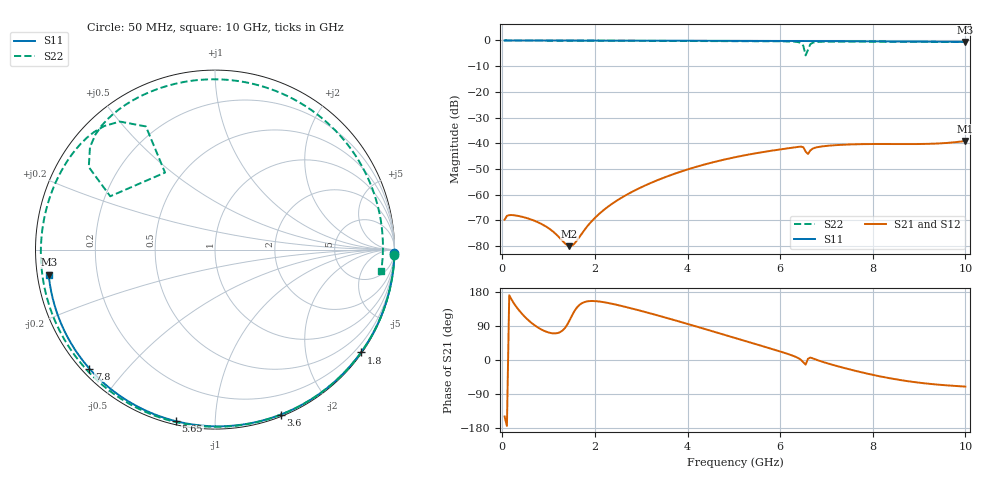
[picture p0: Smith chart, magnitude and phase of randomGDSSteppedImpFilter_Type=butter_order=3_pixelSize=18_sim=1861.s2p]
! freq	dB(S11)	phase(S11)	dB(S12)	phase(S12)
!  dB(S21)	phase(S21)	dB(S22)	phase(S22)
!S-par simulation data
#  GHz  S  DB  R 50
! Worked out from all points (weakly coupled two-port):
!   200 points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, 50 MHz to 10 GHz, reference 50 ohm
!   highest |S21| = -39.10 dB at 10 GHz (marker M1); lowest = -80.1 dB at 1.45 GHz (marker M2)
!   lowest |S11| = -0.6 dB at 10 GHz (marker M3), VSWR 30.78, Z = 1.63 - j3.73 ohm
!   |S11| at or under -10 dB: nowhere
!   |S22| runs from -5.8 to 0.0 dB; largest |S21 - S12| = 0
!   S11 on the Smith chart (normalised r, x): 50 MHz: open; 1.8 GHz: 0.03, -3.16; 3.6 GHz: 0.02, -1.48; 5.65 GHz: 0.02, -0.80; 7.8 GHz: 0.02, -0.40; 10 GHz: 0.03, -0.07
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0.05  -0.00 -1.0  -69.77 -149.0  -69.77 -149.0  -0.00 -1.9
0.2  -0.00 -4.0  -67.96 159.4  -67.96 159.4  -0.00 -7.4
0.7  -0.02 -13.9  -70.23 91.5  -70.23 91.5  -0.03 -25.9
1.45  -0.04 -28.5  -80.08 103.9  -80.08 103.9  -0.07 -52.8
1.75  -0.04 -34.2  -74.34 151.7  -74.34 151.7  -0.08 -63.3
1.8  -0.04 -35.2  -73.15 153.8  -73.15 153.8  -0.08 -65.0
2.4  -0.06 -46.5  -63.22 147.6  -63.22 147.6  -0.11 -85.5
3.4  -0.09 -64.7  -54.04 116.2  -54.04 116.2  -0.15 -118.4
3.6  -0.09 -68.2  -52.66 109.3  -52.66 109.3  -0.16 -124.9
5.05  -0.14 -93.0  -45.36 57.2  -45.36 57.2  -0.25 -172.4
5.65  -0.17 -102.8  -43.38 35.4  -43.38 35.4  -0.30 166.6
6.2  -0.20 -111.6  -41.91 14.6  -41.91 14.6  -0.40 144.3
6.45  -0.22 -115.6  -41.33 0.3  -41.33 0.3  -1.02 126.6
6.5  -0.22 -116.3  -41.55 -6.1  -41.55 -6.1  -2.08 119.3
6.55  -0.22 -117.1  -43.23 -12.1  -43.23 -12.1  -5.82 123.0
6.6  -0.23 -117.9  -44.20 3.0  -44.20 3.0  -3.68 153.0
6.7  -0.23 -119.5  -42.15 4.5  -42.15 4.5  -0.91 140.7
7.1  -0.26 -125.7  -40.88 -11.6  -40.88 -11.6  -0.45 117.1
7.8  -0.32 -136.6  -40.35 -33.7  -40.35 -33.7  -0.46 86.3
8.35  -0.37 -145.1  -40.32 -47.8  -40.32 -47.8  -0.49 62.2
9.2  -0.46 -158.5  -40.25 -62.6  -40.25 -62.6  -0.53 25.2
10  -0.56 -171.5  -39.10 -70.3  -39.10 -70.3  -0.60 -7.4
